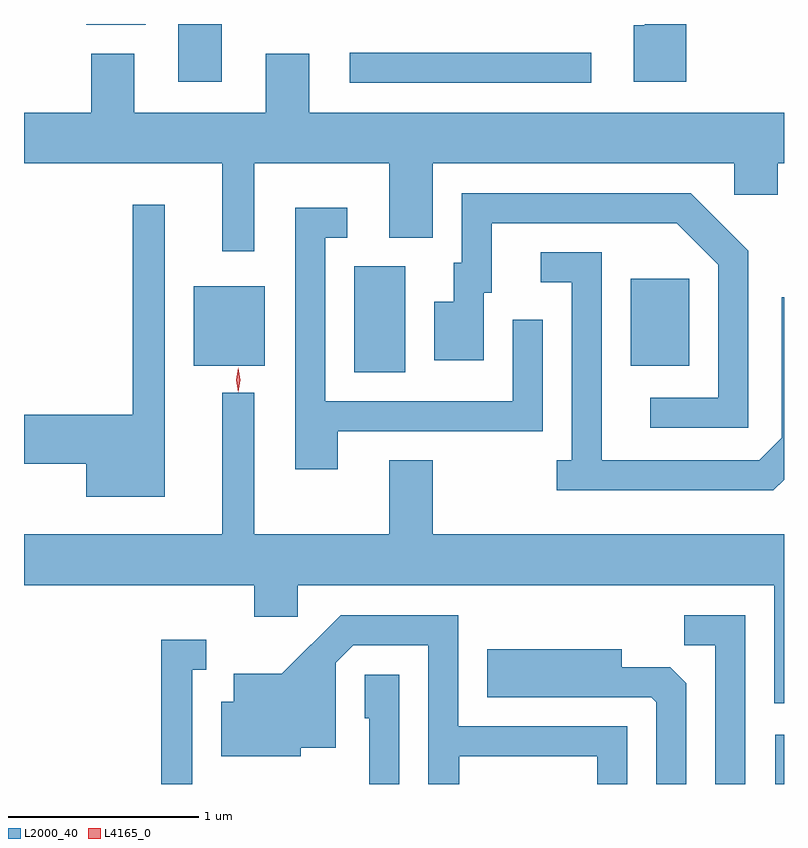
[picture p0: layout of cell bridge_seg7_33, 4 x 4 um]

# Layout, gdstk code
import gdstk
lib = gdstk.Library(unit=1e-6, precision=1e-09)
def R(c, l, rs):  # rectangles x0, y0, x1, y1
    for r in rs: c.add(gdstk.rectangle(r[:2], r[2:], *l))
def P(c, l, *ps):  # polygons
    for p in ps: c.add(gdstk.Polygon(p, *l))
L2000_40 = (2000, 40)
L4165_0 = (4165, 0)

bridge_seg7_33 = lib.new_cell('bridge_seg7_33')
R(bridge_seg7_33, L2000_40, [(1730.001,1739.91,1730.048,1740.169), (1727.786,1742.076,1728.054,1742.634), (1726.941,1742.111,1727.314,1742.529), (1729.241,1742.111,1729.549,1742.569), (1727.763,1743.601,1729.033,1743.759), (1726.861,1743.606,1727.089,1743.91), (1726.376,1743.906,1726.689,1743.91)])
P(bridge_seg7_33, L2000_40, [(1729.534,1743.91),(1729.316,1743.91),(1729.316,1743.904),(1729.256,1743.904),(1729.256,1743.606),(1729.534,1743.606)],
  [(1727.259,1743.176),(1727.971,1743.176),(1727.971,1742.786),(1728.199,1742.786),(1728.199,1743.176),(1729.786,1743.176),(1729.786,1743.011),(1730.014,1743.011),(1730.014,1743.176),(1730.048,1743.176),(1730.048,1743.444),(1727.549,1743.444),(1727.549,1743.754),(1727.321,1743.754),(1727.321,1743.444),(1726.629,1743.444),(1726.629,1743.754),(1726.401,1743.754),(1726.401,1743.444),(1726.048,1743.444),(1726.048,1743.176),(1727.091,1743.176),(1727.091,1742.713),(1727.259,1742.713)],
  [(1729.859,1742.717),(1729.557,1743.019),(1728.351,1743.019),(1728.351,1742.654),(1728.311,1742.654),(1728.311,1742.449),(1728.206,1742.449),(1728.206,1742.141),(1728.469,1742.141),(1728.469,1742.496),(1728.509,1742.496),(1728.509,1742.861),(1729.484,1742.861),(1729.701,1742.644),(1729.701,1741.944),(1729.343,1741.944),(1729.343,1741.786),(1729.859,1741.786)],
  [(1726.789,1742.958),(1726.621,1742.958),(1726.621,1741.854),(1726.048,1741.854),(1726.048,1741.596),(1726.376,1741.596),(1726.376,1741.421),(1726.789,1741.421)],
  [(1727.699,1741.766),(1728.779,1741.766),(1728.779,1742.353),(1728.621,1742.353),(1728.621,1741.924),(1727.634,1741.924),(1727.634,1742.786),(1727.748,1742.786),(1727.748,1742.944),(1727.476,1742.944),(1727.476,1741.566),(1727.699,1741.566)],
  [(1730.048,1741.512),(1730.048,1742.473),(1730.036,1742.473),(1730.036,1741.732),(1729.919,1741.614),(1729.089,1741.614),(1729.089,1742.709),(1728.768,1742.709),(1728.768,1742.551),(1728.931,1742.551),(1728.931,1741.614),(1728.853,1741.614),(1728.853,1741.456),(1729.992,1741.456)],
  [(1730.048,1741.224),(1728.199,1741.224),(1728.199,1741.614),(1727.971,1741.614),(1727.971,1741.224),(1727.259,1741.224),(1727.259,1741.968),(1727.091,1741.968),(1727.091,1741.224),(1726.048,1741.224),(1726.048,1740.956),(1727.261,1740.956),(1727.261,1740.791),(1727.489,1740.791),(1727.489,1740.956),(1729.996,1740.956),(1729.996,1740.336),(1730.048,1740.336)],
  [(1728.339,1740.056),(1729.066,1740.056),(1729.066,1739.91),(1729.224,1739.91),(1729.224,1740.214),(1728.334,1740.214),(1728.334,1740.799),(1727.714,1740.799),(1727.404,1740.489),(1727.151,1740.489),(1727.151,1740.344),(1727.086,1740.344),(1727.086,1740.056),(1727.504,1740.056),(1727.504,1740.101),(1727.689,1740.101),(1727.689,1740.549),(1727.782,1740.641),(1728.176,1740.641),(1728.176,1739.91),(1728.339,1739.91)],
  [(1729.844,1740.799),(1729.523,1740.799),(1729.523,1740.641),(1729.686,1740.641),(1729.686,1739.91),(1729.844,1739.91)],
  [(1726.934,1740.511),(1727.008,1740.511),(1727.008,1740.669),(1726.771,1740.669),(1726.771,1739.91),(1726.934,1739.91)],
  [(1729.534,1740.439),(1729.449,1740.524),(1729.194,1740.524),(1729.194,1740.619),(1728.486,1740.619),(1728.486,1740.366),(1729.349,1740.366),(1729.376,1740.339),(1729.376,1739.91),(1729.534,1739.91)],
  [(1728.024,1740.484),(1727.841,1740.484),(1727.841,1740.256),(1727.866,1740.256),(1727.866,1739.91),(1728.024,1739.91)])
P(bridge_seg7_33, L4165_0, [(1727.175,1741.973),(1727.175,1741.973),(1727.165,1742.037),(1727.175,1742.101),(1727.175,1742.101),(1727.176,1742.101),(1727.185,1742.037),(1727.176,1741.973)])

lib.write_gds('bridge_seg7_33.gds')
